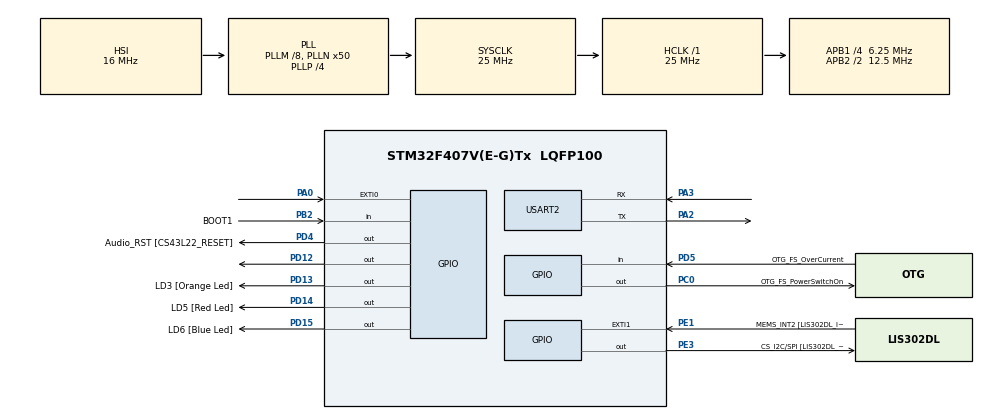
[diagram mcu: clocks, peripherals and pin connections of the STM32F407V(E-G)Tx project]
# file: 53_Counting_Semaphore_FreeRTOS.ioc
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FREERTOS.CountingSemaphores01=CountSem,5,Dynamic,NULL,0
FREERTOS.Tasks01=defaultTask,24,128,StartDefaultTask,Default,NULL,Dynamic,NULL,NULL;myTask02,24,128,LED_Task,Default,NULL,Dynamic,NULL,NULL
Mcu.Family=STM32F4
Mcu.Name=STM32F407V(E-G)Tx
Mcu.Package=LQFP100
NVIC.EXTI0_IRQn=true\:5\:0\:false\:false\:true\:true\:true\:true\:true
NVIC.PriorityGroup=NVIC_PRIORITYGROUP_4
PA0-WKUP.Signal=GPXTI0
PA10.GPIO_Label=OTG_FS_ID
PA10.GPIO_Mode=GPIO_MODE_AF_PP
PA10.GPIO_PuPd=GPIO_NOPULL
PA10.GPIO_Speed=GPIO_SPEED_FREQ_LOW
PA10.Signal=USB_OTG_FS_ID
PA11.GPIO_Label=OTG_FS_DM
PA11.GPIO_Mode=GPIO_MODE_AF_PP
PA11.GPIO_PuPd=GPIO_NOPULL
PA11.GPIO_Speed=GPIO_SPEED_FREQ_LOW
PA11.Signal=USB_OTG_FS_DM
PA12.GPIO_Label=OTG_FS_DP
PA12.GPIO_Mode=GPIO_MODE_AF_PP
PA12.GPIO_PuPd=GPIO_NOPULL
PA12.GPIO_Speed=GPIO_SPEED_FREQ_LOW
PA12.Signal=USB_OTG_FS_DP
PA13.GPIO_Label=SWDIO
PA13.Signal=SYS_JTMS-SWDIO
PA14.GPIO_Label=SWCLK
PA14.Signal=SYS_JTCK-SWCLK
PA2.Mode=Asynchronous
PA2.Signal=USART2_TX
PA3.Mode=Asynchronous
PA3.Signal=USART2_RX
PA4.GPIO_Label=I2S3_WS [CS43L22_LRCK]
PA4.GPIO_Mode=GPIO_MODE_AF_PP
PA4.GPIO_PuPd=GPIO_NOPULL
PA4.GPIO_Speed=GPIO_SPEED_FREQ_LOW
PA4.Signal=I2S3_WS
PA5.GPIO_Label=SPI1_SCK [LIS302DL_SCL/SPC]
PA5.GPIO_Mode=GPIO_MODE_AF_PP
PA5.GPIO_PuPd=GPIO_NOPULL
PA5.GPIO_Speed=GPIO_SPEED_FREQ_LOW
PA5.Signal=SPI1_SCK
PA6.GPIO_Label=SPI1_MISO [LIS302DL_SDO]
PA6.GPIO_Mode=GPIO_MODE_AF_PP
PA6.GPIO_PuPd=GPIO_NOPULL
PA6.GPIO_Speed=GPIO_SPEED_FREQ_LOW
PA6.Signal=SPI1_MISO
PA7.GPIO_Label=SPI1_MOSI [LIS302DL_SDA/SDI/SDO]
PA7.GPIO_Mode=GPIO_MODE_AF_PP
PA7.GPIO_PuPd=GPIO_NOPULL
PA7.GPIO_Speed=GPIO_SPEED_FREQ_LOW
PA7.Signal=SPI1_MOSI
PA9.GPIO_Label=VBUS_FS
PA9.GPIO_Mode=GPIO_MODE_INPUT
PA9.GPIO_PuPd=GPIO_NOPULL
PA9.Signal=USB_OTG_FS_VBUS
PB10.GPIO_Label=CLK_IN [MP45DT02_CLK]
PB10.GPIO_Mode=GPIO_MODE_AF_PP
PB10.GPIO_PuPd=GPIO_NOPULL
PB10.GPIO_Speed=GPIO_SPEED_FREQ_LOW
PB10.Signal=I2S2_CK
PB2.GPIO_Label=BOOT1
PB2.GPIO_Mode=GPIO_MODE_INPUT
PB2.GPIO_PuPd=GPIO_NOPULL
PB2.Signal=GPIO_Input
PB3.GPIO_Label=SWO
PB3.Signal=SYS_JTDO-SWO
PB6.GPIO_Label=Audio_SCL [CS43L22_SCL]
PB6.GPIO_Mode=GPIO_MODE_AF_OD
PB6.GPIO_PuPd=GPIO_NOPULL
PB6.GPIO_Speed=GPIO_SPEED_FREQ_LOW
PB6.Signal=I2C1_SCL
PB9.GPIO_Label=Audio_SDA [CS43L22_SDA]
PB9.GPIO_Mode=GPIO_MODE_AF_OD
PB9.GPIO_PuPd=GPIO_NOPULL
PB9.GPIO_Speed=GPIO_SPEED_FREQ_LOW
PB9.Signal=I2C1_SDA
PC0.GPIO_Label=OTG_FS_PowerSwitchOn
PC0.GPIO_PuPd=GPIO_NOPULL
PC0.GPIO_Speed=GPIO_SPEED_FREQ_LOW
PC0.PinState=GPIO_PIN_SET
PC0.Signal=GPIO_Output
PC10.GPIO_Label=I2S3_SCK [CS43L22_SCLK]
PC10.GPIO_Mode=GPIO_MODE_AF_PP
PC10.GPIO_PuPd=GPIO_NOPULL
PC10.GPIO_Speed=GPIO_SPEED_FREQ_LOW
PC10.Signal=I2S3_CK
PC12.GPIO_Label=I2S3_SD [CS43L22_SDIN]
PC12.GPIO_Mode=GPIO_MODE_AF_PP
PC12.GPIO_PuPd=GPIO_NOPULL
PC12.GPIO_Speed=GPIO_SPEED_FREQ_LOW
PC12.Signal=I2S3_SD
PC14-OSC32_IN.GPIO_Label=PC14-OSC32_IN
PC14-OSC32_IN.Signal=RCC_OSC32_IN
PC15-OSC32_OUT.GPIO_Label=PC15-OSC32_OUT
PC15-OSC32_OUT.Signal=RCC_OSC32_OUT
PC3.GPIO_Label=PDM_OUT [MP45DT02_DOUT]
PC3.GPIO_Mode=GPIO_MODE_AF_PP
PC3.GPIO_PuPd=GPIO_NOPULL
PC3.GPIO_Speed=GPIO_SPEED_FREQ_LOW
PC3.Signal=I2S2_SD
PC7.GPIO_Label=I2S3_MCK [CS43L22_MCLK]
PC7.GPIO_Mode=GPIO_MODE_AF_PP
PC7.GPIO_PuPd=GPIO_NOPULL
PC7.GPIO_Speed=GPIO_SPEED_FREQ_LOW
PC7.Signal=I2S3_MCK
PD12.Signal=GPIO_Output
PD13.GPIO_Label=LD3 [Orange Led]
PD13.GPIO_PuPd=GPIO_NOPULL
PD13.GPIO_Speed=GPIO_SPEED_FREQ_LOW
PD13.Signal=GPIO_Output
PD14.GPIO_Label=LD5 [Red Led]
PD14.GPIO_PuPd=GPIO_NOPULL
PD14.GPIO_Speed=GPIO_SPEED_FREQ_LOW
PD14.Signal=GPIO_Output
PD15.GPIO_Label=LD6 [Blue Led]
PD15.GPIO_PuPd=GPIO_NOPULL
PD15.GPIO_Speed=GPIO_SPEED_FREQ_LOW
PD15.Signal=GPIO_Output
PD4.GPIO_Label=Audio_RST [CS43L22_RESET]
PD4.GPIO_PuPd=GPIO_NOPULL
PD4.GPIO_Speed=GPIO_SPEED_FREQ_LOW
PD4.Signal=GPIO_Output
PD5.GPIO_Label=OTG_FS_OverCurrent
PD5.GPIO_Mode=GPIO_MODE_INPUT
PD5.GPIO_PuPd=GPIO_NOPULL
PD5.Signal=GPIO_Input
PE1.GPIO_Label=MEMS_INT2 [LIS302DL_INT2]
PE1.GPIO_ModeDefaultEXTI=GPIO_MODE_EVT_RISING
PE1.GPIO_PuPd=GPIO_NOPULL
PE1.Signal=GPXTI1
PE3.GPIO_Label=CS_I2C/SPI [LIS302DL_CS_I2C/SPI]
PE3.GPIO_PuPd=GPIO_NOPULL
PE3.GPIO_Speed=GPIO_SPEED_FREQ_LOW
PE3.Signal=GPIO_Output
PH0-OSC_IN.GPIO_Label=PH0-OSC_IN
PH0-OSC_IN.Signal=RCC_OSC_IN
PH1-OSC_OUT.GPIO_Label=PH1-OSC_OUT
PH1-OSC_OUT.Signal=RCC_OSC_OUT
ProjectManager.HeapSize=0x200
ProjectManager.StackSize=0x400
ProjectManager.TargetToolchain=STM32CubeIDE
RCC.48MHZClocksFreq_Value=14285714.285714285
RCC.AHBFreq_Value=25000000
RCC.APB1CLKDivider=RCC_HCLK_DIV4
RCC.APB1Freq_Value=6250000
RCC.APB1TimFreq_Value=12500000
RCC.APB2CLKDivider=RCC_HCLK_DIV2
RCC.APB2Freq_Value=12500000
RCC.APB2TimFreq_Value=25000000
RCC.CortexFreq_Value=25000000
RCC.HCLKFreq_Value=25000000
RCC.HSE_VALUE=8000000
RCC.HSI_VALUE=16000000
RCC.LSE_VALUE=32768
RCC.PLLM=8
RCC.PLLN=50
RCC.PLLP=RCC_PLLP_DIV4
RCC.PLLQ=7
RCC.SYSCLKFreq_VALUE=25000000
RCC.SYSCLKSource=RCC_SYSCLKSOURCE_PLLCLK
RCC.VCOOutputFreq_Value=100000000
USART2.VirtualMode=VM_ASYNC
VP_FREERTOS_VS_CMSIS_V2.Mode=CMSIS_V2
board=STM32F407G-DISC1

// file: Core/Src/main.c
/* USER CODE BEGIN Header */
/**
  ******************************************************************************
  * @file           : main.c
  * @brief          : Main program body
  ******************************************************************************
  * @attention
  *
  * Copyright (c) 2026 STMicroelectronics.
  * All rights reserved.
  *
  * This software is licensed under terms that can be found in the LICENSE file
  * in the root directory of this software component.
  * If no LICENSE file comes with this software, it is provided AS-IS.
  *
  ******************************************************************************
  */
/* USER CODE END Header */
#include "main.h"
#include "cmsis_os.h"

/* USER CODE BEGIN Includes */
#include <stdio.h>
/* USER CODE END Includes */

UART_HandleTypeDef huart2;

/* Definitions for defaultTask */
osThreadId_t defaultTaskHandle;
const osThreadAttr_t defaultTask_attributes = {
  .name = "defaultTask",
  .stack_size = 128 * 4,
  .priority = (osPriority_t) osPriorityNormal,
};
/* Definitions for myTask02 */
osThreadId_t myTask02Handle;
const osThreadAttr_t myTask02_attributes = {
  .name = "myTask02",
  .stack_size = 128 * 4,
  .priority = (osPriority_t) osPriorityNormal,
};
/* Definitions for CountSem */
osSemaphoreId_t CountSemHandle;
const osSemaphoreAttr_t CountSem_attributes = {
  .name = "CountSem"
};

void SystemClock_Config(void);
static void MX_GPIO_Init(void);
static void MX_USART2_UART_Init(void);
void StartDefaultTask(void *argument);
void LED_Task(void *argument);

/* USER CODE BEGIN 0 */
// Redirect printf to USART2
int __io_putchar(int ch)
{
    HAL_UART_Transmit(&huart2,
                      (uint8_t*)&ch,
                      1,
                      HAL_MAX_DELAY);

    return ch;
}
/* USER CODE END 0 */

int main(void)
{

  /* MCU Configuration--------------------------------------------------------*/

  /* Reset of all peripherals, Initializes the Flash interface and the Systick. */
  HAL_Init();

  /* Configure the system clock */
  SystemClock_Config();

  /* Initialize all configured peripherals */
  MX_GPIO_Init();
  MX_USART2_UART_Init();

  /* Init scheduler */
  osKernelInitialize();

  /* Create the semaphores(s) */
  /* creation of CountSem */
  CountSemHandle = osSemaphoreNew(5, 0, &CountSem_attributes);

  /* Create the thread(s) */
  /* creation of defaultTask */
  defaultTaskHandle = osThreadNew(StartDefaultTask, NULL, &defaultTask_attributes);

  /* creation of myTask02 */
  myTask02Handle = osThreadNew(LED_Task, NULL, &myTask02_attributes);

  /* Start scheduler */
  osKernelStart();

  /* We should never get here as control is now taken by the scheduler */

  /* Infinite loop */
  while (1)
  {

  }
}

void SystemClock_Config(void)
{
  RCC_OscInitTypeDef RCC_OscInitStruct = {0};
  RCC_ClkInitTypeDef RCC_ClkInitStruct = {0};

  /** Configure the main internal regulator output voltage
  */
  __HAL_RCC_PWR_CLK_ENABLE();
  __HAL_PWR_VOLTAGESCALING_CONFIG(PWR_REGULATOR_VOLTAGE_SCALE1);

  /** Initializes the RCC Oscillators according to the specified parameters
  * in the RCC_OscInitTypeDef structure.
  */
  RCC_OscInitStruct.OscillatorType = RCC_OSCILLATORTYPE_HSI;
  RCC_OscInitStruct.HSIState = RCC_HSI_ON;
  RCC_OscInitStruct.HSICalibrationValue = RCC_HSICALIBRATION_DEFAULT;
  RCC_OscInitStruct.PLL.PLLState = RCC_PLL_ON;
  RCC_OscInitStruct.PLL.PLLSource = RCC_PLLSOURCE_HSI;
  RCC_OscInitStruct.PLL.PLLM = 8;
  RCC_OscInitStruct.PLL.PLLN = 50;
  RCC_OscInitStruct.PLL.PLLP = RCC_PLLP_DIV4;
  RCC_OscInitStruct.PLL.PLLQ = 7;
  if (HAL_RCC_OscConfig(&RCC_OscInitStruct) != HAL_OK)
  {
    Error_Handler();
  }

  /** Initializes the CPU, AHB and APB buses clocks
  */
  RCC_ClkInitStruct.ClockType = RCC_CLOCKTYPE_HCLK|RCC_CLOCKTYPE_SYSCLK
                              |RCC_CLOCKTYPE_PCLK1|RCC_CLOCKTYPE_PCLK2;
  RCC_ClkInitStruct.SYSCLKSource = RCC_SYSCLKSOURCE_PLLCLK;
  RCC_ClkInitStruct.AHBCLKDivider = RCC_SYSCLK_DIV1;
  RCC_ClkInitStruct.APB1CLKDivider = RCC_HCLK_DIV4;
  RCC_ClkInitStruct.APB2CLKDivider = RCC_HCLK_DIV2;

  if (HAL_RCC_ClockConfig(&RCC_ClkInitStruct, FLASH_LATENCY_0) != HAL_OK)
  {
    Error_Handler();
  }
}

static void MX_USART2_UART_Init(void)
{

  huart2.Instance = USART2;
  huart2.Init.BaudRate = 115200;
  huart2.Init.WordLength = UART_WORDLENGTH_8B;
  huart2.Init.StopBits = UART_STOPBITS_1;
  huart2.Init.Parity = UART_PARITY_NONE;
  huart2.Init.Mode = UART_MODE_TX_RX;
  huart2.Init.HwFlowCtl = UART_HWCONTROL_NONE;
  huart2.Init.OverSampling = UART_OVERSAMPLING_16;
  if (HAL_UART_Init(&huart2) != HAL_OK)
  {
    Error_Handler();
  }

}

static void MX_GPIO_Init(void)
{
  GPIO_InitTypeDef GPIO_InitStruct = {0};

  /* GPIO Ports Clock Enable */
  __HAL_RCC_GPIOE_CLK_ENABLE();
  __HAL_RCC_GPIOC_CLK_ENABLE();
  __HAL_RCC_GPIOH_CLK_ENABLE();
  __HAL_RCC_GPIOA_CLK_ENABLE();
  __HAL_RCC_GPIOB_CLK_ENABLE();
  __HAL_RCC_GPIOD_CLK_ENABLE();

  /*Configure GPIO pin Output Level */
  HAL_GPIO_WritePin(CS_I2C_SPI_GPIO_Port, CS_I2C_SPI_Pin, GPIO_PIN_RESET);

  /*Configure GPIO pin Output Level */
  HAL_GPIO_WritePin(OTG_FS_PowerSwitchOn_GPIO_Port, OTG_FS_PowerSwitchOn_Pin, GPIO_PIN_SET);

  /*Configure GPIO pin Output Level */
  HAL_GPIO_WritePin(GPIOD, GPIO_PIN_12|LD3_Pin|LD5_Pin|LD6_Pin
                          |Audio_RST_Pin, GPIO_PIN_RESET);

  /*Configure GPIO pin : CS_I2C_SPI_Pin */
  GPIO_InitStruct.Pin = CS_I2C_SPI_Pin;
  GPIO_InitStruct.Mode = GPIO_MODE_OUTPUT_PP;
  GPIO_InitStruct.Pull = GPIO_NOPULL;
  GPIO_InitStruct.Speed = GPIO_SPEED_FREQ_LOW;
  HAL_GPIO_Init(CS_I2C_SPI_GPIO_Port, &GPIO_InitStruct);

  /*Configure GPIO pin : OTG_FS_PowerSwitchOn_Pin */
  GPIO_InitStruct.Pin = OTG_FS_PowerSwitchOn_Pin;
  GPIO_InitStruct.Mode = GPIO_MODE_OUTPUT_PP;
  GPIO_InitStruct.Pull = GPIO_NOPULL;
  GPIO_InitStruct.Speed = GPIO_SPEED_FREQ_LOW;
  HAL_GPIO_Init(OTG_FS_PowerSwitchOn_GPIO_Port, &GPIO_InitStruct);

  /*Configure GPIO pin : PDM_OUT_Pin */
  GPIO_InitStruct.Pin = PDM_OUT_Pin;
  GPIO_InitStruct.Mode = GPIO_MODE_AF_PP;
  GPIO_InitStruct.Pull = GPIO_NOPULL;
  GPIO_InitStruct.Speed = GPIO_SPEED_FREQ_LOW;
  GPIO_InitStruct.Alternate = GPIO_AF5_SPI2;
  HAL_GPIO_Init(PDM_OUT_GPIO_Port, &GPIO_InitStruct);

  /*Configure GPIO pin : PA0 */
  GPIO_InitStruct.Pin = GPIO_PIN_0;
  GPIO_InitStruct.Mode = GPIO_MODE_IT_RISING;
  GPIO_InitStruct.Pull = GPIO_NOPULL;
  HAL_GPIO_Init(GPIOA, &GPIO_InitStruct);

  /*Configure GPIO pin : I2S3_WS_Pin */
  GPIO_InitStruct.Pin = I2S3_WS_Pin;
  GPIO_InitStruct.Mode = GPIO_MODE_AF_PP;
  GPIO_InitStruct.Pull = GPIO_NOPULL;
  GPIO_InitStruct.Speed = GPIO_SPEED_FREQ_LOW;
  GPIO_InitStruct.Alternate = GPIO_AF6_SPI3;
  HAL_GPIO_Init(I2S3_WS_GPIO_Port, &GPIO_InitStruct);

  /*Configure GPIO pins : SPI1_SCK_Pin SPI1_MISO_Pin SPI1_MOSI_Pin */
  GPIO_InitStruct.Pin = SPI1_SCK_Pin|SPI1_MISO_Pin|SPI1_MOSI_Pin;
  GPIO_InitStruct.Mode = GPIO_MODE_AF_PP;
  GPIO_InitStruct.Pull = GPIO_NOPULL;
  GPIO_InitStruct.Speed = GPIO_SPEED_FREQ_LOW;
  GPIO_InitStruct.Alternate = GPIO_AF5_SPI1;
  HAL_GPIO_Init(GPIOA, &GPIO_InitStruct);

  /*Configure GPIO pin : BOOT1_Pin */
  GPIO_InitStruct.Pin = BOOT1_Pin;
  GPIO_InitStruct.Mode = GPIO_MODE_INPUT;
  GPIO_InitStruct.Pull = GPIO_NOPULL;
  HAL_GPIO_Init(BOOT1_GPIO_Port, &GPIO_InitStruct);

  /*Configure GPIO pin : CLK_IN_Pin */
  GPIO_InitStruct.Pin = CLK_IN_Pin;
  GPIO_InitStruct.Mode = GPIO_MODE_AF_PP;
  GPIO_InitStruct.Pull = GPIO_NOPULL;
  GPIO_InitStruct.Speed = GPIO_SPEED_FREQ_LOW;
  GPIO_InitStruct.Alternate = GPIO_AF5_SPI2;
  HAL_GPIO_Init(CLK_IN_GPIO_Port, &GPIO_InitStruct);

  /*Configure GPIO pins : PD12 LD3_Pin LD5_Pin LD6_Pin
                           Audio_RST_Pin */
  GPIO_InitStruct.Pin = GPIO_PIN_12|LD3_Pin|LD5_Pin|LD6_Pin
                          |Audio_RST_Pin;
  GPIO_InitStruct.Mode = GPIO_MODE_OUTPUT_PP;
  GPIO_InitStruct.Pull = GPIO_NOPULL;
  GPIO_InitStruct.Speed = GPIO_SPEED_FREQ_LOW;
  HAL_GPIO_Init(GPIOD, &GPIO_InitStruct);

  /*Configure GPIO pins : I2S3_MCK_Pin I2S3_SCK_Pin I2S3_SD_Pin */
  GPIO_InitStruct.Pin = I2S3_MCK_Pin|I2S3_SCK_Pin|I2S3_SD_Pin;
  GPIO_InitStruct.Mode = GPIO_MODE_AF_PP;
  GPIO_InitStruct.Pull = GPIO_NOPULL;
  GPIO_InitStruct.Speed = GPIO_SPEED_FREQ_LOW;
  GPIO_InitStruct.Alternate = GPIO_AF6_SPI3;
  HAL_GPIO_Init(GPIOC, &GPIO_InitStruct);

  /*Configure GPIO pin : VBUS_FS_Pin */
  GPIO_InitStruct.Pin = VBUS_FS_Pin;
  GPIO_InitStruct.Mode = GPIO_MODE_INPUT;
  GPIO_InitStruct.Pull = GPIO_NOPULL;
  HAL_GPIO_Init(VBUS_FS_GPIO_Port, &GPIO_InitStruct);

  /*Configure GPIO pins : OTG_FS_ID_Pin OTG_FS_DM_Pin OTG_FS_DP_Pin */
  GPIO_InitStruct.Pin = OTG_FS_ID_Pin|OTG_FS_DM_Pin|OTG_FS_DP_Pin;
  GPIO_InitStruct.Mode = GPIO_MODE_AF_PP;
  GPIO_InitStruct.Pull = GPIO_NOPULL;
  GPIO_InitStruct.Speed = GPIO_SPEED_FREQ_LOW;
  GPIO_InitStruct.Alternate = GPIO_AF10_OTG_FS;
  HAL_GPIO_Init(GPIOA, &GPIO_InitStruct);

  /*Configure GPIO pin : OTG_FS_OverCurrent_Pin */
  GPIO_InitStruct.Pin = OTG_FS_OverCurrent_Pin;
  GPIO_InitStruct.Mode = GPIO_MODE_INPUT;
  GPIO_InitStruct.Pull = GPIO_NOPULL;
  HAL_GPIO_Init(OTG_FS_OverCurrent_GPIO_Port, &GPIO_InitStruct);

  /*Configure GPIO pins : Audio_SCL_Pin Audio_SDA_Pin */
  GPIO_InitStruct.Pin = Audio_SCL_Pin|Audio_SDA_Pin;
  GPIO_InitStruct.Mode = GPIO_MODE_AF_OD;
  GPIO_InitStruct.Pull = GPIO_NOPULL;
  GPIO_InitStruct.Speed = GPIO_SPEED_FREQ_LOW;
  GPIO_InitStruct.Alternate = GPIO_AF4_I2C1;
  HAL_GPIO_Init(GPIOB, &GPIO_InitStruct);

  /*Configure GPIO pin : MEMS_INT2_Pin */
  GPIO_InitStruct.Pin = MEMS_INT2_Pin;
  GPIO_InitStruct.Mode = GPIO_MODE_EVT_RISING;
  GPIO_InitStruct.Pull = GPIO_NOPULL;
  HAL_GPIO_Init(MEMS_INT2_GPIO_Port, &GPIO_InitStruct);

  /* EXTI interrupt init*/
  HAL_NVIC_SetPriority(EXTI0_IRQn, 5, 0);
  HAL_NVIC_EnableIRQ(EXTI0_IRQn);

}

/* USER CODE BEGIN 4 */
// Called automatically when button interrupt occurs
void HAL_GPIO_EXTI_Callback(uint16_t GPIO_Pin)
{
    // Check USER button
    if(GPIO_Pin == GPIO_PIN_0)
    {
        // Increase semaphore count
        osSemaphoreRelease(CountSemHandle);

        printf("Button Pressed\r\n");
    }
}
/* USER CODE END 4 */

void StartDefaultTask(void *argument)
{
  for(;;)
  {
    osDelay(1);
  }
}

void LED_Task(void *argument)
{
  /* USER CODE BEGIN LED_Task */
  /* Infinite loop */
  for(;;)
  {
	  // Wait forever until semaphore available
	        if(osSemaphoreAcquire(CountSemHandle,
	                              osWaitForever) == osOK)
	        {
	            // Toggle Green LED
	            HAL_GPIO_TogglePin(GPIOD,
	                               GPIO_PIN_12);

	            // Print message
	            printf("Semaphore Received\r\n");
	        }
    osDelay(1);
  }
  /* USER CODE END LED_Task */
}

void Error_Handler(void)
{
  __disable_irq();
  while (1)
  {
  }
}
